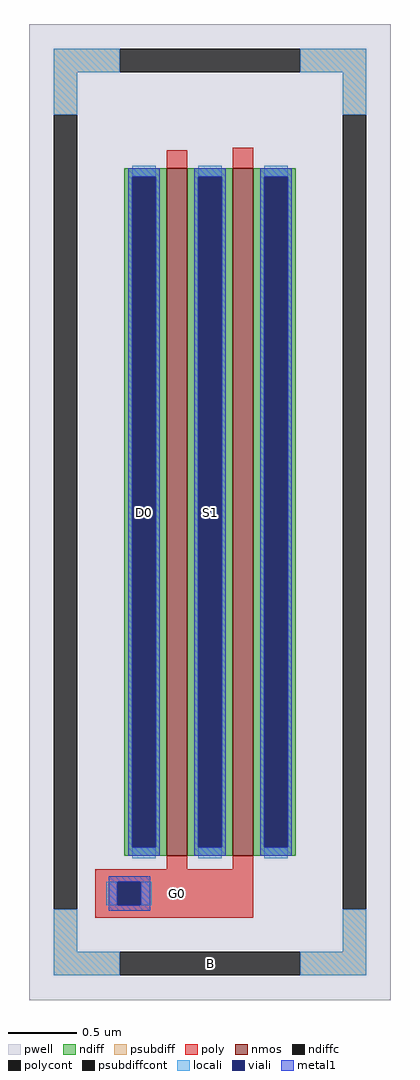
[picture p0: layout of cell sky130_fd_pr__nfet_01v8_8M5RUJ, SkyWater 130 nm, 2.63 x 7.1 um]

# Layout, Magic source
magic
tech sky130A
magscale 1 2
<< pwell >>
rect -263 -710 263 710
<< nmos >>
rect -63 -500 -33 500
rect 33 -500 63 500
<< ndiff >>
rect -125 488 -63 500
rect -125 -488 -113 488
rect -79 -488 -63 488
rect -125 -500 -63 -488
rect -33 488 33 500
rect -33 -488 -17 488
rect 17 -488 33 488
rect -33 -500 33 -488
rect 63 488 125 500
rect 63 -488 79 488
rect 113 -488 125 488
rect 63 -500 125 -488
<< ndiffc >>
rect -113 -488 -79 488
rect -17 -488 17 488
rect 79 -488 113 488
<< psubdiff >>
rect -227 640 -131 674
rect 131 640 227 674
rect -227 578 -193 640
rect 193 578 227 640
rect -227 -640 -193 -578
rect 193 -640 227 -578
rect -227 -674 -131 -640
rect 131 -674 227 -640
<< psubdiffcont >>
rect -131 640 131 674
rect -227 -578 -193 578
rect 193 -578 227 578
rect -131 -674 131 -640
<< poly >>
rect -63 500 -33 526
rect 33 500 63 530
rect -63 -520 -33 -500
rect 33 -520 63 -500
rect -167 -538 63 -520
rect -167 -572 -135 -538
rect -101 -572 63 -538
rect -167 -590 63 -572
<< polycont >>
rect -135 -572 -101 -538
<< locali >>
rect -227 640 -131 674
rect 131 640 227 674
rect -227 578 -193 640
rect 193 578 227 640
rect -113 488 -79 504
rect -113 -504 -79 -488
rect -17 488 17 504
rect -17 -504 17 -488
rect 79 488 113 504
rect 79 -504 113 -488
rect -151 -572 -135 -538
rect -101 -572 -85 -538
rect -227 -640 -193 -578
rect 193 -640 227 -578
rect -227 -674 -131 -640
rect 131 -674 227 -640
<< viali >>
rect -113 -488 -79 488
rect -17 -488 17 488
rect 79 -488 113 488
rect -135 -572 -101 -538
<< metal1 >>
rect -119 488 -73 500
rect -119 -488 -113 488
rect -79 -488 -73 488
rect -119 -500 -73 -488
rect -23 488 23 500
rect -23 -488 -17 488
rect 17 -488 23 488
rect -23 -500 23 -488
rect 73 488 119 500
rect 73 -488 79 488
rect 113 -488 119 488
rect 73 -500 119 -488
rect -147 -538 -87 -530
rect -147 -572 -135 -538
rect -101 -572 -87 -538
rect -147 -580 -87 -572
<< labels >>
rlabel psubdiffcont 0 -657 0 -657 0 B
port 1 nsew
rlabel ndiffc -96 0 -96 0 0 D0
port 2 nsew
rlabel ndiffc 0 0 0 0 0 S1
port 4 nsew
rlabel poly -48 -555 -48 -555 0 G0
port 3 nsew
<< properties >>
string FIXED_BBOX -210 -657 210 657
string gencell sky130_fd_pr__nfet_01v8
string library sky130
string parameters w 5.0 l 0.15 m 1 nf 2 diffcov 100 polycov 100 guard 1 glc 1 grc 1 gtc 1 gbc 1 tbcov 100 rlcov 100 topc 1 botc 1 poverlap 0 doverlap 1 lmin 0.15 wmin 0.42 class mosfet compatible {sky130_fd_pr__nfet_01v8 sky130_fd_pr__nfet_01v8_lvt  sky130_fd_bs_flash__special_sonosfet_star  sky130_fd_pr__nfet_g5v0d10v5 sky130_fd_pr__nfet_05v0_nvt  sky130_fd_pr__nfet_03v3_nvt} full_metal 1 conn_gates 0 viasrc 100 viadrn 100 viagate 100 viagb 0 viagr 0 viagl 0 viagt 0 doports 1
<< end >>
